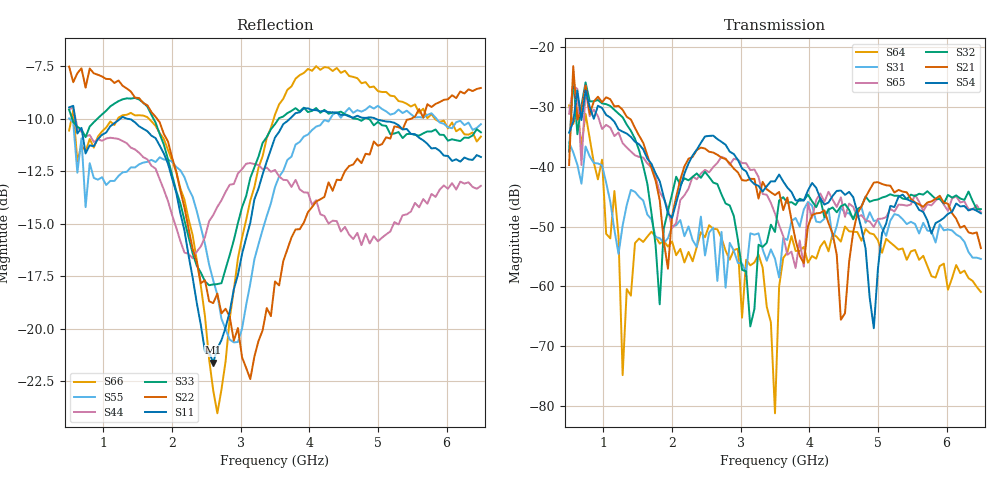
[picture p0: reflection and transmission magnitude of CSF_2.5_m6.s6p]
!Keysight Technologies,M9804A,MY58100912,A.14.10.03
!Date: Thursday, April 27, 2023 10:28:33
!Correction: S11(C  6-Port  )
!S12(C  6-Port  )
!S13(C  6-Port  )
!S14(C  6-Port  )
!S15(C  6-Port  )
!S16(C  6-Port  )
!S21(C  6-Port  )
!S22(C  6-Port  )
!S23(C  6-Port  )
!S24(C  6-Port  )
!S25(C  6-Port  )
!S26(C  6-Port  )
!S31(C  6-Port  )
!S32(C  6-Port  )
!S33(C  6-Port  )
!S34(C  6-Port  )
!S35(C  6-Port  )
!S36(C  6-Port  )
!S41(C  6-Port  )
!S42(C  6-Port  )
!S43(C  6-Port  )
!S44(C  6-Port  )
!S45(C  6-Port  )
!S46(C  6-Port  )
!S51(C  6-Port  )
!S52(C  6-Port  )
!S53(C  6-Port  )
!S54(C  6-Port  )
!S55(C  6-Port  )
!S56(C  6-Port  )
!S61(C  6-Port  )
!S62(C  6-Port  )
!S63(C  6-Port  )
!S64(C  6-Port  )
!S65(C  6-Port  )
!S66(C  6-Port  )
!S6P File: Measurement: :
# Hz S  RI  R 50
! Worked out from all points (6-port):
!   101 points, 500 MHz to 6.5 GHz, reference 50 ohm
!   strongest paths, dB at 500 MHz, 2 GHz, 3.5 GHz, 5 GHz, 6.5 GHz:
!     S54: -34.3, -48.5, -42.4, -57.0, -47.8
!     S21: -39.7, -48.3, -44.7, -42.6, -53.6
!     S32: -37.5, -44.6, -50.9, -45.5, -47.1
!     S65: -31.1, -50.3, -47.8, -48.7, -47.6
!     S31: -35.9, -49.9, -55.4, -48.9, -55.4
!     S64: -29.7, -52.5, -81.3, -52.3, -61.0
!   lowest |S11| = -21.6 dB at 2.6 GHz (marker M1), VSWR 1.18, Z = 42.6 + j1.98 ohm
!   |S11| at or under -10 dB: 588.4 MHz to 1.243 GHz (654.5 MHz wide, 71.5 % of centre); 1.359 GHz to 3.715 GHz (2.355 GHz wide, 92.8 % of centre); 4.971 GHz to end of sweep
